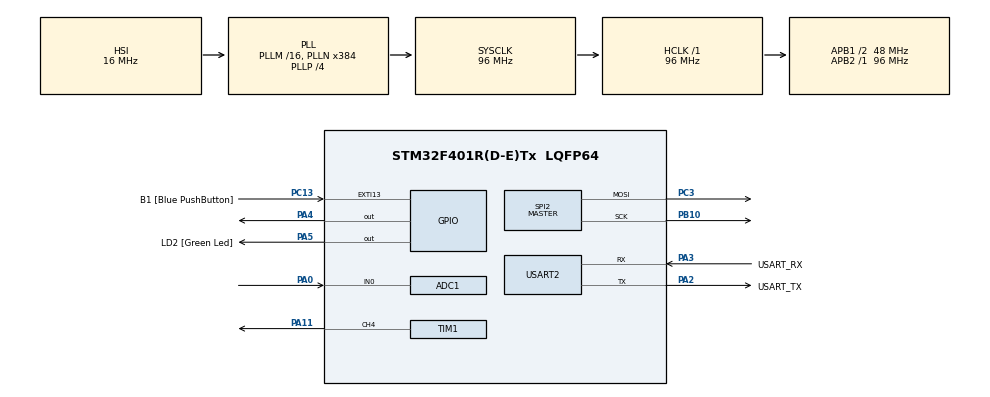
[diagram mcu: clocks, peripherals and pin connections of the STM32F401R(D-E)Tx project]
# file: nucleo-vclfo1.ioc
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Mcu.Family=STM32F4
PC3.Mode=TX_Only_Simplex_Unidirect_Master
PA2.GPIO_PuPd=GPIO_NOPULL
SH.S_TIM1_CH4.0=TIM1_CH4,PWM Generation4 CH4
Dma.TIM1_CH1/CH2/CH3.0.MemInc=DMA_MINC_ENABLE
RCC.CortexFreq_Value=96000000
Dma.ADC1.1.MemDataAlignment=DMA_MDATAALIGN_HALFWORD
Dma.TIM1_CH1/CH2/CH3.0.Direction=DMA_MEMORY_TO_PERIPH
SPI2.VirtualType=VM_MASTER
PB10.Mode=TX_Only_Simplex_Unidirect_Master
ADC1.ContinuousConvMode=DISABLE
Dma.TIM1_CH1/CH2/CH3.0.Mode=DMA_CIRCULAR
PA14.GPIO_Label=TCK
PA3.GPIO_PuPd=GPIO_NOPULL
PA2.GPIO_Speed=GPIO_SPEED_FREQ_LOW
Dma.TIM1_CH1/CH2/CH3.0.MemDataAlignment=DMA_MDATAALIGN_BYTE
PA3.GPIO_Speed=GPIO_SPEED_FREQ_LOW
RCC.SYSCLKSource=RCC_SYSCLKSOURCE_PLLCLK
ProjectManager.StackSize=0x400
VP_TIM1_VS_no_output1.Mode=Output Compare1 No Output
TIM1.Prescaler=2-1
PH0\ -\ OSC_IN.Signal=RCC_OSC_IN
Dma.ADC1.1.Instance=DMA2_Stream0
TIM1.Channel-PWM\ Generation4\ CH4=TIM_CHANNEL_4
RCC.HCLKFreq_Value=96000000
RCC.APB2TimFreq_Value=96000000
TIM3.Period=1
Dma.ADC1.1.PeriphDataAlignment=DMA_PDATAALIGN_HALFWORD
PC3.Signal=SPI2_MOSI
NVIC.DMA2_Stream0_IRQn=true\:0\:0\:false\:false\:true\:false\:true
RCC.AHBFreq_Value=96000000
SPI2.BaudRatePrescaler=SPI_BAUDRATEPRESCALER_32
ADC1.Channel-0\#ChannelRegularConversion=ADC_CHANNEL_0
RCC.HSE_VALUE=8000000
ADC1.ScanConvMode=DISABLE
PC13-ANTI_TAMP.Signal=GPXTI13
PC14-OSC32_IN.Mode=LSE-External-Oscillator
PA14.Mode=Serial_Wire
TIM3.Prescaler=48000-1
PA5.GPIO_PuPd=GPIO_NOPULL
Dma.ADC1.1.Priority=DMA_PRIORITY_LOW
Dma.ADC1.1.Mode=DMA_CIRCULAR
SH.ADCx_IN0.0=ADC1_IN0,IN0
VP_TIM1_VS_ClockSourceINT.Mode=Internal
ADC1.SamplingTime-0\#ChannelRegularConversion=ADC_SAMPLETIME_3CYCLES
Mcu.Package=LQFP64
SPI2.Mode=SPI_MODE_MASTER
USART2.VirtualMode=VM_ASYNC
Dma.ADC1.1.Direction=DMA_PERIPH_TO_MEMORY
PA2.GPIO_Label=USART_TX
Dma.ADC1.1.MemInc=DMA_MINC_DISABLE
SPI2.CLKPhase=SPI_PHASE_2EDGE
Dma.TIM1_CH1/CH2/CH3.0.PeriphDataAlignment=DMA_PDATAALIGN_BYTE
Dma.Request1=ADC1
RCC.APB1TimFreq_Value=96000000
SPI2.Direction=SPI_DIRECTION_2LINES
TIM1.Period=1000-1
Dma.Request0=TIM1_CH1/CH2/CH3
VP_TIM3_VS_ClockSourceINT.Mode=Internal
PA3.Signal=USART2_RX
PA2.GPIO_Mode=GPIO_MODE_AF_PP
PB3.GPIO_Label=SWO
TIM1.OCMode_PWM-PWM\ Generation4\ CH4=TIM_OCMODE_PWM2
TIM1.Pulse-Output\ Compare3\ No\ Output=350
PC15-OSC32_OUT.Mode=LSE-External-Oscillator
Dma.TIM1_CH1/CH2/CH3.0.Priority=DMA_PRIORITY_VERY_HIGH
ADC1.Rank-0\#ChannelRegularConversion=1
TIM3.Channel-Output\ Compare1\ No\ Output=TIM_CHANNEL_1
PC13-ANTI_TAMP.GPIO_PuPd=GPIO_NOPULL
PC13-ANTI_TAMP.GPIO_Label=B1 [Blue PushButton]
TIM1.Channel-Output\ Compare2\ No\ Output=TIM_CHANNEL_2
TIM1.Channel-Output\ Compare1\ No\ Output=TIM_CHANNEL_1
PH1\ -\ OSC_OUT.Mode=HSE-External-Clock-Source
ADC1.ExternalTrigConvEdge=ADC_EXTERNALTRIGCONVEDGE_RISINGFALLING
RCC.APB1CLKDivider=RCC_HCLK_DIV2
PC14-OSC32_IN.Signal=RCC_OSC32_IN
Dma.TIM1_CH1/CH2/CH3.0.FIFOMode=DMA_FIFOMODE_DISABLE
PA0-WKUP.Signal=ADCx_IN0
PA3.Mode=Asynchronous
PA13.Signal=SYS_JTMS-SWDIO
PH0\ -\ OSC_IN.Mode=HSE-External-Clock-Source
ProjectManager.TargetToolchain=STM32CubeIDE
PA3.GPIO_Mode=GPIO_MODE_AF_PP
TIM1.Pulse-Output\ Compare2\ No\ Output=100
NVIC.DMA2_Stream6_IRQn=true\:0\:0\:false\:false\:true\:false\:true
PC15-OSC32_OUT.Signal=RCC_OSC32_OUT
PB10.Signal=SPI2_SCK
Dma.TIM1_CH1/CH2/CH3.0.PeriphInc=DMA_PINC_DISABLE
PA5.Signal=GPIO_Output
TIM1.Channel-Output\ Compare3\ No\ Output=TIM_CHANNEL_3
PH1\ -\ OSC_OUT.Signal=RCC_OSC_OUT
board=NUCLEO-F401RE
VP_TIM3_VS_no_output1.Mode=Output Compare1 No Output
RCC.VCOOutputFreq_Value=384000000
Dma.ADC1.1.FIFOMode=DMA_FIFOMODE_DISABLE
RCC.APB2Freq_Value=96000000
TIM3.OCMode_1=TIM_OCMODE_TIMING
VP_TIM1_VS_no_output3.Mode=Output Compare3 No Output
Dma.ADC1.1.PeriphInc=DMA_PINC_DISABLE
ADC1.DMAContinuousRequests=DISABLE
VP_TIM1_VS_no_output2.Mode=Output Compare2 No Output
Dma.TIM1_CH1/CH2/CH3.0.Instance=DMA2_Stream6
PA13.Mode=Serial_Wire
Mcu.Name=STM32F401R(D-E)Tx
PA2.Signal=USART2_TX
PA13.GPIO_Label=TMS
ADC1.ExternalTrigConv=ADC_EXTERNALTRIGCONV_T3_TRGO
RCC.APB2TimCLKDivider=1
RCC.48MHZClocksFreq_Value=54857142.85714286
PB3.Signal=SYS_JTDO-SWO
PA4.Signal=GPIO_Output
RCC.SYSCLKFreq_VALUE=96000000
ADC1.master=1
PA5.GPIO_Label=LD2 [Green Led]
PC13-ANTI_TAMP.GPIO_ModeDefaultEXTI=GPIO_MODE_IT_FALLING
PA11.Signal=S_TIM1_CH4
PA14.Signal=SYS_JTCK-SWCLK
ProjectManager.HeapSize=0x200
TIM1.Pulse-PWM\ Generation4\ CH4=950
RCC.HSI_VALUE=16000000
RCC.PLLP=RCC_PLLP_DIV4
PA5.GPIO_Speed=GPIO_SPEED_FREQ_LOW
RCC.PLLQ=7
NVIC.PriorityGroup=NVIC_PRIORITYGROUP_0
ADC1.NbrOfConversionFlag=1
RCC.PLLN=384
PA2.Mode=Asynchronous
SPI2.DataSize=SPI_DATASIZE_8BIT
TIM3.TIM_MasterOutputTrigger=TIM_TRGO_UPDATE
RCC.APB1Freq_Value=48000000
PA5.GPIO_Mode=GPIO_MODE_OUTPUT_PP
ADC1.ClockPrescaler=ADC_CLOCK_SYNC_PCLK_DIV8
PA3.GPIO_Label=USART_RX

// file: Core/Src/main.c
/* USER CODE BEGIN Header */
/**
  ******************************************************************************
  * @file           : main.c
  * @brief          : Main program body
  ******************************************************************************
  * @attention
  *
  * <h2><center>&copy; Copyright (c) 2021 STMicroelectronics.
  * All rights reserved.</center></h2>
  *
  * This software component is licensed by ST under BSD 3-Clause license,
  * the "License"; You may not use this file except in compliance with the
  * License. You may obtain a copy of the License at:
  *                        opensource.org/licenses/BSD-3-Clause
  *
  ******************************************************************************
  */
/* USER CODE END Header */
#include "main.h"
#include "adc.h"
#include "dma.h"
#include "spi.h"
#include "tim.h"
#include "usart.h"
#include "gpio.h"

/* USER CODE BEGIN Includes */
#include "../../Drivers/custom/Inc/ADC_STM32F401.h"
#include "../../Drivers/custom/Inc/DAC_TI8164.h"
#include "../custom/engine.h"
/* USER CODE END Includes */

void SystemClock_Config(void);

int main(void)
{

  /* MCU Configuration--------------------------------------------------------*/

  /* Reset of all peripherals, Initializes the Flash interface and the Systick. */
  HAL_Init();

  /* Configure the system clock */
  SystemClock_Config();

  /* Initialize all configured peripherals */
  MX_GPIO_Init();
  MX_DMA_Init();
  MX_USART2_UART_Init();
  MX_SPI2_Init();
  MX_TIM1_Init();
  MX_TIM3_Init();
  MX_ADC1_Init();
  /* USER CODE BEGIN 2 */
  ADC_Init(&htim3, &hadc1);
  DAC_Init(&htim1, &hspi2, &hdma_tim1_ch1_ch2_ch3);

  CV_inputs cv;
  cv.f = 440;
  cv.wave_idx = 0;

  /* USER CODE END 2 */

  /* Infinite loop */
  /* USER CODE BEGIN WHILE */
  uint8_t need_more_samples = 1;

  while (1)
  {
    if (need_more_samples) {

    // todo: pull out CV from buffers and input into wt_sample
    float smpl = wt_sample(&cv);
    DAC_queue_push(smpl);

  	/* debug */
    //  uint16_t adc = ADC_queue_pop();
    //  float adc_f = ((float) adc - 2047) / 2048;	// convert adc to range [-1,1]
  	// DAC_queue_push(adc_f);
    } else {
      /* TODO: prepare CV inputs for next sequence */

      // TODO: pop all samples in the buf
      uint16_t f_int = ADC_queue_pop();

      // convert samples from int to float

      // interpolate and create a CV bufs of size PLAYBACK_SIZE, store into CV struct?
      cv.f = ((float) f_int - 2047) / 2048; // convert to range [-1,1]
    }
    /* USER CODE END WHILE */

  }
}

void SystemClock_Config(void)
{
  RCC_OscInitTypeDef RCC_OscInitStruct = {0};
  RCC_ClkInitTypeDef RCC_ClkInitStruct = {0};

  /** Configure the main internal regulator output voltage
  */
  __HAL_RCC_PWR_CLK_ENABLE();
  __HAL_PWR_VOLTAGESCALING_CONFIG(PWR_REGULATOR_VOLTAGE_SCALE2);
  /** Initializes the RCC Oscillators according to the specified parameters
  * in the RCC_OscInitTypeDef structure.
  */
  RCC_OscInitStruct.OscillatorType = RCC_OSCILLATORTYPE_HSI;
  RCC_OscInitStruct.HSIState = RCC_HSI_ON;
  RCC_OscInitStruct.HSICalibrationValue = RCC_HSICALIBRATION_DEFAULT;
  RCC_OscInitStruct.PLL.PLLState = RCC_PLL_ON;
  RCC_OscInitStruct.PLL.PLLSource = RCC_PLLSOURCE_HSI;
  RCC_OscInitStruct.PLL.PLLM = 16;
  RCC_OscInitStruct.PLL.PLLN = 384;
  RCC_OscInitStruct.PLL.PLLP = RCC_PLLP_DIV4;
  RCC_OscInitStruct.PLL.PLLQ = 7;
  if (HAL_RCC_OscConfig(&RCC_OscInitStruct) != HAL_OK)
  {
    Error_Handler();
  }
  /** Initializes the CPU, AHB and APB buses clocks
  */
  RCC_ClkInitStruct.ClockType = RCC_CLOCKTYPE_HCLK|RCC_CLOCKTYPE_SYSCLK
                              |RCC_CLOCKTYPE_PCLK1|RCC_CLOCKTYPE_PCLK2;
  RCC_ClkInitStruct.SYSCLKSource = RCC_SYSCLKSOURCE_PLLCLK;
  RCC_ClkInitStruct.AHBCLKDivider = RCC_SYSCLK_DIV1;
  RCC_ClkInitStruct.APB1CLKDivider = RCC_HCLK_DIV2;
  RCC_ClkInitStruct.APB2CLKDivider = RCC_HCLK_DIV1;

  if (HAL_RCC_ClockConfig(&RCC_ClkInitStruct, FLASH_LATENCY_2) != HAL_OK)
  {
    Error_Handler();
  }
}

void Error_Handler(void)
{
  __disable_irq();
  while (1)
  {
  }
}

/************************ (C) COPYRIGHT STMicroelectronics *****END OF FILE****/
